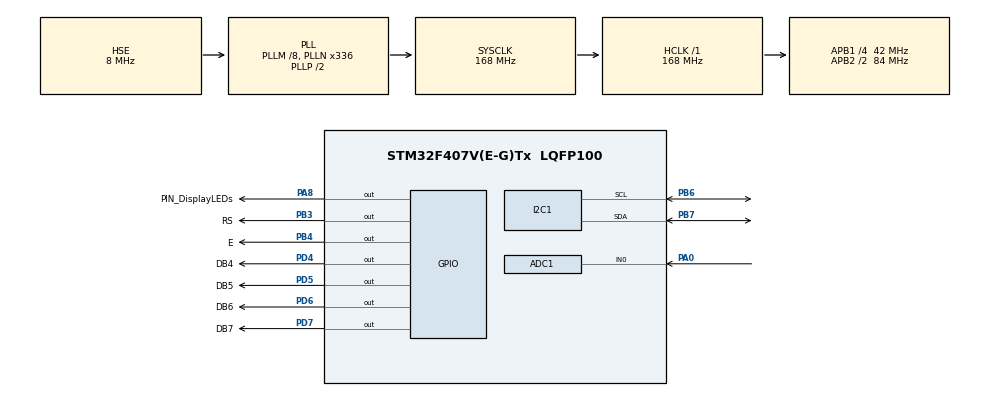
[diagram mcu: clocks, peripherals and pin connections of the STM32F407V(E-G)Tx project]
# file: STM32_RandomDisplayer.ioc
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Mcu.Family=STM32F4
RCC.PLLSourceVirtual=RCC_PLLSOURCE_HSE
PH0-OSC_IN.Signal=RCC_OSC_IN
RCC.CortexFreq_Value=168000000
ADC1.Rank-0\#ChannelRegularConversion=1
PD7.Signal=GPIO_Output
PD5.Signal=GPIO_Output
RCC.APB1CLKDivider=RCC_HCLK_DIV4
PD6.GPIO_Label=DB6
RCC.SYSCLKSource=RCC_SYSCLKSOURCE_PLLCLK
ProjectManager.StackSize=0x400
PA0-WKUP.Signal=ADCx_IN0
PA8.GPIO_Label=PIN_DisplayLEDs
ProjectManager.TargetToolchain=STM32CubeIDE
RCC.HCLKFreq_Value=168000000
PD4.Signal=GPIO_Output
RCC.APB2TimFreq_Value=168000000
PB6.Signal=I2C1_SCL
PB6.Mode=I2C
RCC.LSE_VALUE=32768
RCC.AHBFreq_Value=168000000
PH0-OSC_IN.Mode=HSE-External-Clock-Source
ADC1.Channel-0\#ChannelRegularConversion=ADC_CHANNEL_0
RCC.HSE_VALUE=8000000
board=STM32F407G-DISC1
RCC.VCOOutputFreq_Value=336000000
RCC.APB2Freq_Value=84000000
PB4.GPIO_Label=E
PD4.GPIO_Label=DB4
PH1-OSC_OUT.Signal=RCC_OSC_OUT
PB7.Signal=I2C1_SDA
PA8.Signal=GPIO_Output
SH.ADCx_IN0.0=ADC1_IN0,IN0
Mcu.Name=STM32F407V(E-G)Tx
ADC1.SamplingTime-0\#ChannelRegularConversion=ADC_SAMPLETIME_3CYCLES
PD7.GPIO_Label=DB7
PH1-OSC_OUT.Mode=HSE-External-Clock-Source
RCC.48MHZClocksFreq_Value=48000000
PB3.Signal=GPIO_Output
RCC.SYSCLKFreq_VALUE=168000000
Mcu.Package=LQFP100
ADC1.master=1
PD5.GPIO_Label=DB5
PB7.Mode=I2C
ProjectManager.HeapSize=0x200
RCC.HSI_VALUE=16000000
RCC.PLLQ=7
NVIC.PriorityGroup=NVIC_PRIORITYGROUP_0
ADC1.NbrOfConversionFlag=1
RCC.APB2CLKDivider=RCC_HCLK_DIV2
RCC.PLLM=8
RCC.PLLN=336
RCC.APB1TimFreq_Value=84000000
PD6.Signal=GPIO_Output
RCC.APB1Freq_Value=42000000
PB4.Signal=GPIO_Output
PB3.GPIO_Label=RS

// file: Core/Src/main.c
/* USER CODE BEGIN Header */
/**
  ******************************************************************************
  * @file           : main.c
  * @brief          : Main program body
  ******************************************************************************
  * @attention
  *
  * <h2><center>&copy; Copyright (c) 2021 STMicroelectronics.
  * All rights reserved.</center></h2>
  *
  * This software component is licensed by ST under Ultimate Liberty license
  * SLA0044, the "License"; You may not use this file except in compliance with
  * the License. You may obtain a copy of the License at:
  *                             www.st.com/SLA0044
  *
  ******************************************************************************
  */
/* USER CODE END Header */
#include "main.h"

/* USER CODE BEGIN Includes */
#include "lcd/lcd.h"
#include "HP20x_Barometer/HP20xSTM32.h"
/* USER CODE END Includes */

/* USER CODE BEGIN PTD */
struct I2C_Module
{
  I2C_HandleTypeDef   instance;
  uint16_t            sdaPin;
  GPIO_TypeDef*       sdaPort;
  uint16_t            sclPin;
  GPIO_TypeDef*       sclPort;
};
/* USER CODE END PTD */

ADC_HandleTypeDef hadc1;

I2C_HandleTypeDef hi2c1;

void SystemClock_Config(void);
static void MX_GPIO_Init(void);
static void MX_I2C1_Init(void);
static void MX_ADC1_Init(void);

int main(void)
{
  /* USER CODE BEGIN 1 */
  uint16_t raw;

  /* USER CODE END 1 */

  /* MCU Configuration--------------------------------------------------------*/

  /* Reset of all peripherals, Initializes the Flash interface and the Systick. */
  HAL_Init();

  /* Configure the system clock */
  SystemClock_Config();

  /* Initialize all configured peripherals */
  MX_GPIO_Init();
  MX_I2C1_Init();
  MX_ADC1_Init();
  /* USER CODE BEGIN 2 */

	HAL_Delay(300);

	struct I2C_Module myi2c;
	myi2c.instance = hi2c1;
	myi2c.sclPin = GPIO_PIN_6;
	myi2c.sclPort = GPIOB;
	myi2c.sdaPin = GPIO_PIN_7;
	myi2c.sdaPort=GPIOB;

	//I2C_ClearBusyFlagErratum(&myi2c);
	//HP20x_begin();
	//HAL_Delay(200);

	HAL_StatusTypeDef i2cStatus;

	while(HP20x_begin() != HAL_OK){
	  HAL_Delay(500);
	  //I2C_ClearBusyFlagErratum(&myi2c);
	  HP20x_begin();
	  HAL_Delay(500);
	};

	float temperatureData = 0;
	float pressureData = 0;
	float altitudeData = 0;

	Lcd_PortType ports[] = {
	  DB4_GPIO_Port, DB5_GPIO_Port, DB6_GPIO_Port, DB7_GPIO_Port
	};
	Lcd_PinType pins[] = {DB4_Pin, DB5_Pin, DB6_Pin, DB7_Pin};
	Lcd_HandleTypeDef lcd;
	lcd = Lcd_create(ports, pins, RS_GPIO_Port, RS_Pin, E_GPIO_Port, E_Pin, LCD_4_BIT_MODE);

  /* USER CODE END 2 */

  /* Infinite loop */
  while (1)
  {

    /* USER CODE BEGIN 3 */

	HAL_ADC_Start(&hadc1);
	if(HAL_ADC_PollForConversion(&hadc1, HAL_MAX_DELAY) == HAL_OK){
	raw = HAL_ADC_GetValue(&hadc1);
	}
	HAL_ADC_Stop(&hadc1);

	//Lcd_cursor(&lcd, 0,0);
	//Lcd_int(&lcd, raw);

	if(raw >= 1000){
	  //Lcd_clear(&lcd);
	  //Lcd_cursor(&lcd, 2,0);
	  HAL_GPIO_WritePin(PIN_DisplayLEDs_GPIO_Port, PIN_DisplayLEDs_Pin, GPIO_PIN_RESET);

		i2cStatus = HP20x_readTemp(&temperatureData);
		i2cStatus = HP20x_readPressure(&pressureData);
		i2cStatus = HP20x_readAltitude(&altitudeData);
		int tempFirstDigits = temperatureData/100;
		int tempDecimals = (int)temperatureData % 100;
		Lcd_cursor(&lcd, 1,0);
		Lcd_int(&lcd, tempFirstDigits);
		Lcd_cursor(&lcd, 1,2);
		Lcd_string(&lcd, ".");
		Lcd_int(&lcd, tempDecimals);
		Lcd_cursor(&lcd, 1,7);
		Lcd_string(&lcd, "C temp");
		Lcd_cursor(&lcd, 2,0);
		Lcd_int(&lcd, pressureData/100);
		Lcd_cursor(&lcd, 2,7);
		Lcd_string(&lcd, "mbar airpres");
		Lcd_cursor(&lcd, 3,0);
		Lcd_int(&lcd, altitudeData/100);
		Lcd_cursor(&lcd, 3,7);
		Lcd_string(&lcd, "m altitude");
	}
	else{
	  //Lcd_clear(&lcd);
	  HAL_GPIO_WritePin(PIN_DisplayLEDs_GPIO_Port, PIN_DisplayLEDs_Pin, GPIO_PIN_SET);

	}

	HAL_Delay(1000);
	Lcd_clear(&lcd);
  }
  /* USER CODE END 3 */
}

void SystemClock_Config(void)
{
  RCC_OscInitTypeDef RCC_OscInitStruct = {0};
  RCC_ClkInitTypeDef RCC_ClkInitStruct = {0};

  /** Configure the main internal regulator output voltage
  */
  __HAL_RCC_PWR_CLK_ENABLE();
  __HAL_PWR_VOLTAGESCALING_CONFIG(PWR_REGULATOR_VOLTAGE_SCALE1);
  /** Initializes the RCC Oscillators according to the specified parameters
  * in the RCC_OscInitTypeDef structure.
  */
  RCC_OscInitStruct.OscillatorType = RCC_OSCILLATORTYPE_HSE;
  RCC_OscInitStruct.HSEState = RCC_HSE_BYPASS;
  RCC_OscInitStruct.PLL.PLLState = RCC_PLL_ON;
  RCC_OscInitStruct.PLL.PLLSource = RCC_PLLSOURCE_HSE;
  RCC_OscInitStruct.PLL.PLLM = 8;
  RCC_OscInitStruct.PLL.PLLN = 336;
  RCC_OscInitStruct.PLL.PLLP = RCC_PLLP_DIV2;
  RCC_OscInitStruct.PLL.PLLQ = 7;
  if (HAL_RCC_OscConfig(&RCC_OscInitStruct) != HAL_OK)
  {
    Error_Handler();
  }
  /** Initializes the CPU, AHB and APB buses clocks
  */
  RCC_ClkInitStruct.ClockType = RCC_CLOCKTYPE_HCLK|RCC_CLOCKTYPE_SYSCLK
                              |RCC_CLOCKTYPE_PCLK1|RCC_CLOCKTYPE_PCLK2;
  RCC_ClkInitStruct.SYSCLKSource = RCC_SYSCLKSOURCE_PLLCLK;
  RCC_ClkInitStruct.AHBCLKDivider = RCC_SYSCLK_DIV1;
  RCC_ClkInitStruct.APB1CLKDivider = RCC_HCLK_DIV4;
  RCC_ClkInitStruct.APB2CLKDivider = RCC_HCLK_DIV2;

  if (HAL_RCC_ClockConfig(&RCC_ClkInitStruct, FLASH_LATENCY_5) != HAL_OK)
  {
    Error_Handler();
  }
}

static void MX_ADC1_Init(void)
{

  ADC_ChannelConfTypeDef sConfig = {0};

  /** Configure the global features of the ADC (Clock, Resolution, Data Alignment and number of conversion)
  */
  hadc1.Instance = ADC1;
  hadc1.Init.ClockPrescaler = ADC_CLOCK_SYNC_PCLK_DIV4;
  hadc1.Init.Resolution = ADC_RESOLUTION_12B;
  hadc1.Init.ScanConvMode = DISABLE;
  hadc1.Init.ContinuousConvMode = DISABLE;
  hadc1.Init.DiscontinuousConvMode = DISABLE;
  hadc1.Init.ExternalTrigConvEdge = ADC_EXTERNALTRIGCONVEDGE_NONE;
  hadc1.Init.ExternalTrigConv = ADC_SOFTWARE_START;
  hadc1.Init.DataAlign = ADC_DATAALIGN_RIGHT;
  hadc1.Init.NbrOfConversion = 1;
  hadc1.Init.DMAContinuousRequests = DISABLE;
  hadc1.Init.EOCSelection = ADC_EOC_SINGLE_CONV;
  if (HAL_ADC_Init(&hadc1) != HAL_OK)
  {
    Error_Handler();
  }
  /** Configure for the selected ADC regular channel its corresponding rank in the sequencer and its sample time.
  */
  sConfig.Channel = ADC_CHANNEL_0;
  sConfig.Rank = 1;
  sConfig.SamplingTime = ADC_SAMPLETIME_3CYCLES;
  if (HAL_ADC_ConfigChannel(&hadc1, &sConfig) != HAL_OK)
  {
    Error_Handler();
  }

}

static void MX_I2C1_Init(void)
{

  hi2c1.Instance = I2C1;
  hi2c1.Init.ClockSpeed = 100000;
  hi2c1.Init.DutyCycle = I2C_DUTYCYCLE_2;
  hi2c1.Init.OwnAddress1 = 0;
  hi2c1.Init.AddressingMode = I2C_ADDRESSINGMODE_7BIT;
  hi2c1.Init.DualAddressMode = I2C_DUALADDRESS_DISABLE;
  hi2c1.Init.OwnAddress2 = 0;
  hi2c1.Init.GeneralCallMode = I2C_GENERALCALL_DISABLE;
  hi2c1.Init.NoStretchMode = I2C_NOSTRETCH_DISABLE;
  if (HAL_I2C_Init(&hi2c1) != HAL_OK)
  {
    Error_Handler();
  }

}

static void MX_GPIO_Init(void)
{
  GPIO_InitTypeDef GPIO_InitStruct = {0};

  /* GPIO Ports Clock Enable */
  __HAL_RCC_GPIOH_CLK_ENABLE();
  __HAL_RCC_GPIOA_CLK_ENABLE();
  __HAL_RCC_GPIOD_CLK_ENABLE();
  __HAL_RCC_GPIOB_CLK_ENABLE();

  /*Configure GPIO pin Output Level */
  HAL_GPIO_WritePin(PIN_DisplayLEDs_GPIO_Port, PIN_DisplayLEDs_Pin, GPIO_PIN_RESET);

  /*Configure GPIO pin Output Level */
  HAL_GPIO_WritePin(GPIOD, DB4_Pin|DB5_Pin|DB6_Pin|DB7_Pin, GPIO_PIN_RESET);

  /*Configure GPIO pin Output Level */
  HAL_GPIO_WritePin(GPIOB, RS_Pin|E_Pin, GPIO_PIN_RESET);

  /*Configure GPIO pin : PIN_DisplayLEDs_Pin */
  GPIO_InitStruct.Pin = PIN_DisplayLEDs_Pin;
  GPIO_InitStruct.Mode = GPIO_MODE_OUTPUT_PP;
  GPIO_InitStruct.Pull = GPIO_NOPULL;
  GPIO_InitStruct.Speed = GPIO_SPEED_FREQ_LOW;
  HAL_GPIO_Init(PIN_DisplayLEDs_GPIO_Port, &GPIO_InitStruct);

  /*Configure GPIO pins : DB4_Pin DB5_Pin DB6_Pin DB7_Pin */
  GPIO_InitStruct.Pin = DB4_Pin|DB5_Pin|DB6_Pin|DB7_Pin;
  GPIO_InitStruct.Mode = GPIO_MODE_OUTPUT_PP;
  GPIO_InitStruct.Pull = GPIO_NOPULL;
  GPIO_InitStruct.Speed = GPIO_SPEED_FREQ_LOW;
  HAL_GPIO_Init(GPIOD, &GPIO_InitStruct);

  /*Configure GPIO pins : RS_Pin E_Pin */
  GPIO_InitStruct.Pin = RS_Pin|E_Pin;
  GPIO_InitStruct.Mode = GPIO_MODE_OUTPUT_PP;
  GPIO_InitStruct.Pull = GPIO_NOPULL;
  GPIO_InitStruct.Speed = GPIO_SPEED_FREQ_LOW;
  HAL_GPIO_Init(GPIOB, &GPIO_InitStruct);

}

void Error_Handler(void)
{
  __disable_irq();
  while (1)
  {
  }
}

/************************ (C) COPYRIGHT STMicroelectronics *****END OF FILE****/
